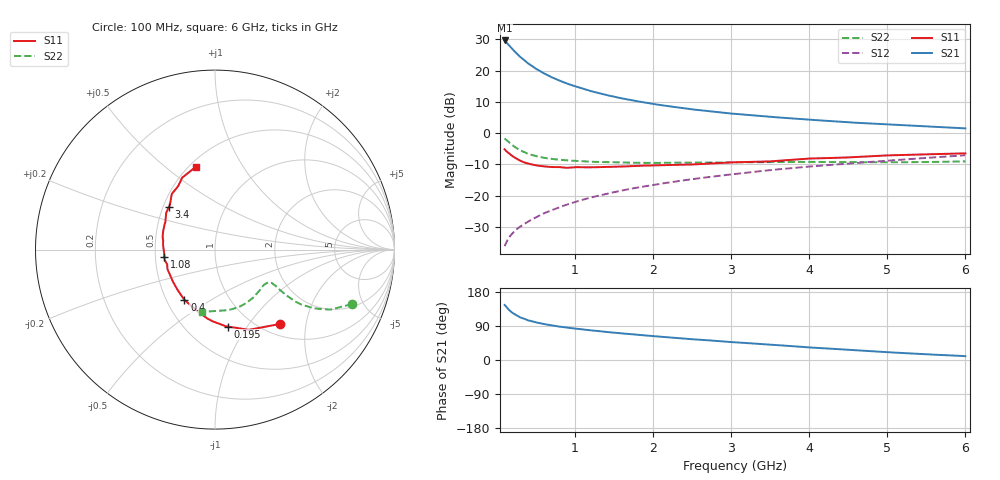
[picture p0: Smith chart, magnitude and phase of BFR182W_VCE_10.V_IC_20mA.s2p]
! Infineon Technologies  Discrete & RF Semiconductors
! BFR182W
! VCE =  10. V,  IC =  20 mA
! Common Emitter S-Parameters:  Nov 2015
# GHz  S  MA  R  50
!  f  S11  S21  S12  S22
! GHz  MAG  ANG  MAG  ANG  MAG  ANG  MAG  ANG
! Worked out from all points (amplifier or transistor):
!   192 points, 100 MHz to 6 GHz, reference 50 ohm
!   highest |S21| = 29.6 dB at 100 MHz (marker M1)
!   |S21| within 3 dB of that: start of sweep to 209.4 MHz
!   unconditionally stable (mu >= 1): 831.2 MHz to 2.791 GHz
!   at 440 MHz: K = 0.85, MSG = 24.7 dB, |S12| = -27.7 dB
!   at 1.7 GHz: K = 1.05, MAG = 12.9 dB, |S12| = -17.9 dB
!   at 6 GHz: K = 0.82, MSG = 4.3 dB, |S12| = -7.1 dB
!   S11 on the Smith chart (normalised r, x): 100 MHz: 1.21, -1.44; 195 MHz: 0.78, -0.82; 400 MHz: 0.62, -0.39; 1.08 GHz: 0.56, -0.05; 3.4 GHz: 0.54, +0.29; 6 GHz: 0.54, +0.64
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0.1  0.5511 -48.7  30.29 145.2  0.0156 70.2  0.8215 -21.7
0.15  0.485 -67.2  25.84 133.2  0.021 66.3  0.7243 -27.5
0.195  0.4346 -80.5  22.39 125.3  0.0246 64.7  0.6502 -30.3
0.2  0.4306 -82.1  22.04 124.3  0.025 64.6  0.6421 -30.7
0.24  0.4004 -91.6  19.56 119.2  0.028 64.3  0.5902 -32.0
0.26  0.3873 -96.0  18.47 116.8  0.0295 64.1  0.5682 -32.5
0.3  0.3623 -104.1  16.52 112.4  0.0321 63.9  0.5316 -32.9
0.4  0.3279 -121.4  13.03 104.7  0.0384 65.5  0.4668 -32.6
0.5  0.3061 -133.1  10.72 99.3  0.0449 66.9  0.4286 -31.9
0.6  0.2947 -142.8  9.076 95.0  0.0521 68.0  0.4035 -31.3
0.7  0.2872 -150.4  7.839 91.3  0.0584 69.0  0.3875 -30.7
0.9  0.279 -163.0  6.18 85.4  0.0722 70.2  0.3665 -30.4
1.08  0.2847 -171.6  5.248 81.2  0.0848 70.7  0.3559 -31.2
1.1  0.2844 -172.4  5.158 80.7  0.0862 70.8  0.3547 -31.3
1.2  0.284 -176.6  4.712 78.3  0.0932 70.9  0.349 -31.7
1.5  0.2913 174.0  3.821 72.1  0.1137 70.5  0.3402 -34.0
2.08  0.307 159.6  2.831 61.7  0.154 69.2  0.335 -39.7
3.1  0.3427 141.4  2.008 46.1  0.2262 65.2  0.3419 -53.5
3.4  0.3505 136.8  1.866 41.9  0.2487 63.7  0.3438 -58.5
4.1  0.395 126.3  1.61 32.0  0.2988 59.8  0.346 -70.1
5.1  0.4435 113.0  1.358 19.5  0.3704 54.0  0.342 -88.3
6  0.4749 102.9  1.191 10.2  0.4432 48.8  0.3537 -102.2
